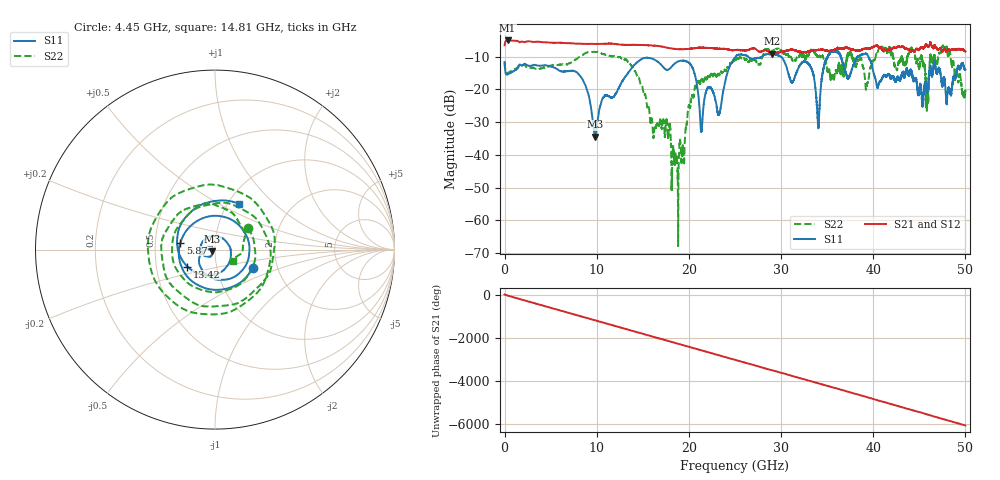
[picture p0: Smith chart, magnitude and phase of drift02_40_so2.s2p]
!Created with skrf (http://scikit-rf.org).
# Hz S RI R 50.0
!freq ReS11 ImS11 ReS21 ImS21 ReS12 ImS12 ReS22 ImS22
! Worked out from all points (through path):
!   10001 points, 300 kHz to 50 GHz, reference 50 ohm
!   highest |S21| = -5.04 dB at 325.3 MHz (marker M1); lowest = -9.0 dB at 29.01 GHz (marker M2)
!   group delay of S21, straight-line fit = 336 ps
!   lowest |S11| = -34.5 dB at 9.83 GHz (marker M3), VSWR 1.04, Z = 48.4 - j1 ohm
!   |S11| at or under -10 dB: start of sweep to 25.07 GHz; 29.97 GHz to 35.06 GHz (5.085 GHz wide, 15.6 % of centre); 39.47 GHz to end of sweep (the widest 3 of 5)
!   |S22| runs from -67.8 to -6.6 dB; largest |S21 - S12| = 0.021
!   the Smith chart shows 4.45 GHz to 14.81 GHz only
!   S11 on the Smith chart (normalised r, x): 4.45 GHz: 1.49, -0.33; 5.87 GHz: 0.68, +0.05; 13.42 GHz: 0.72, -0.14; 14.81 GHz: 1.12, +0.62
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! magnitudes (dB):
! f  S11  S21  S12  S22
! 300 kHz  -11.6  -6.5  -6.4  -11.6
! 325.3 MHz  -15.4  -5.0  -5.0  -15.0
! 4.45 GHz  -12.6  -5.6  -5.6  -13.3
! 5.87 GHz  -14.1  -5.7  -5.7  -12.5
! 8.335 GHz  -16.4  -6.0  -6.0  -9.6
! 9.83 GHz  -34.5  -6.1  -6.1  -8.5
! 13.42 GHz  -14.9  -6.4  -6.4  -11.6
! 14.81 GHz  -10.8  -6.4  -6.4  -18.5
! 16.67 GHz  -11.6  -6.7  -6.7  -30.8
! 18.66 GHz  -11.7  -7.7  -7.7  -41.9
! 20.37 GHz  -13.3  -7.5  -7.5  -21.9
! 21.37 GHz  -32.2  -7.2  -7.2  -16.9
! 23.31 GHz  -27.4  -7.5  -7.6  -15.6
! 25 GHz  -10.3  -8.0  -8.0  -11.2
! 29.01 GHz  -9.1  -9.0  -9.0  -8.2
! 33.34 GHz  -13.9  -8.1  -8.1  -8.1
! 34.02 GHz  -30.9  -7.9  -7.9  -10.2
! 35.52 GHz  -8.5  -8.1  -8.1  -15.6
! 41.67 GHz  -15.4  -7.7  -7.7  -7.5
! 45.86 GHz  -21.2  -6.7  -6.8  -21.8
! 47.76 GHz  -17.2  -7.5  -7.5  -7.4
! 50 GHz  -14.0  -8.4  -8.4  -20.6
